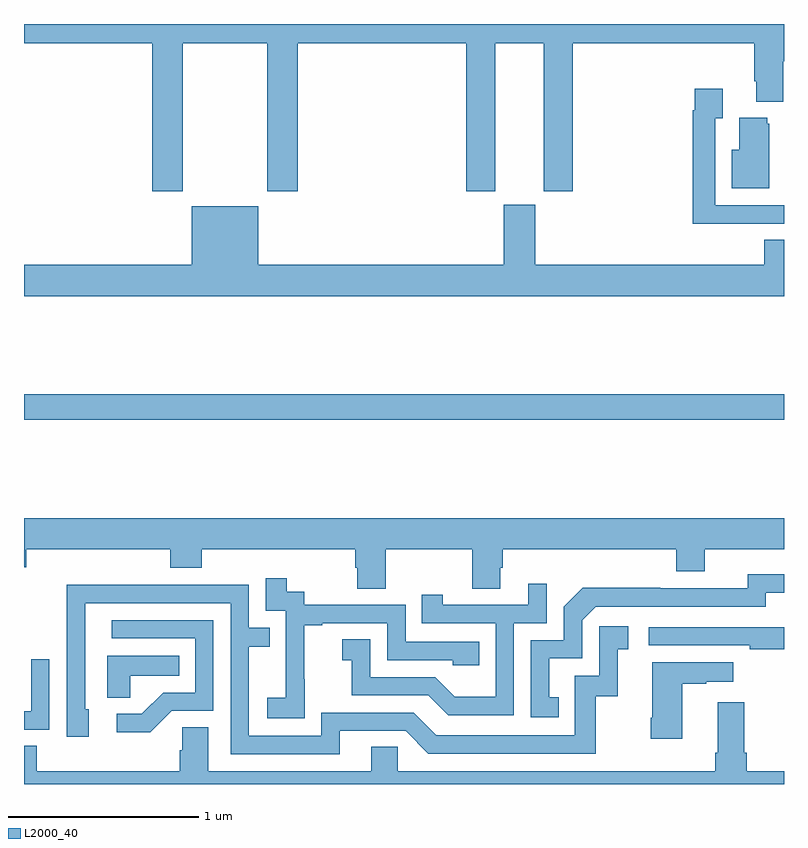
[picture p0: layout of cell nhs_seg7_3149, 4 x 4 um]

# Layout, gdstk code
import gdstk
lib = gdstk.Library(unit=1e-6, precision=1e-09)
def R(c, l, rs):  # rectangles x0, y0, x1, y1
    for r in rs: c.add(gdstk.rectangle(r[:2], r[2:], *l))
def P(c, l, *ps):  # polygons
    for p in ps: c.add(gdstk.Polygon(p, *l))
L2000_40 = (2000, 40)

nhs_seg7_3149 = lib.new_cell('nhs_seg7_3149')
R(nhs_seg7_3149, L2000_40, [(311,1047.916,315,1048.052)])
P(nhs_seg7_3149, L2000_40, [(311.835,1049.9),(312.28,1049.9),(312.28,1049.121),(312.44,1049.121),(312.44,1049.9),(313.328,1049.9),(313.328,1049.121),(313.48,1049.121),(313.48,1049.9),(313.736,1049.9),(313.736,1049.121),(313.889,1049.121),(313.889,1049.9),(314.843,1049.9),(314.843,1049.698),(314.855,1049.698),(314.855,1049.591),(314.995,1049.591),(314.995,1049.804),(315,1049.804),(315,1050),(311,1050),(311,1049.9),(311.675,1049.9),(311.675,1049.121),(311.835,1049.121)],
  [(314.813,1048.95),(315,1048.95),(315,1049.046),(314.637,1049.046),(314.637,1049.503),(314.677,1049.503),(314.677,1049.659),(314.529,1049.659),(314.529,1049.546),(314.521,1049.546),(314.521,1048.949),(314.813,1048.949)],
  [(314.923,1049.475),(314.912,1049.475),(314.912,1049.506),(314.765,1049.506),(314.765,1049.338),(314.726,1049.338),(314.726,1049.135),(314.923,1049.135)],
  [(315,1048.865),(314.897,1048.865),(314.897,1048.732),(313.69,1048.732),(313.69,1049.049),(313.526,1049.049),(313.526,1048.732),(312.232,1048.732),(312.232,1049.041),(311.882,1049.041),(311.882,1048.732),(311,1048.732),(311,1048.568),(315,1048.568)],
  [(312.903,1047.236),(313.36,1047.236),(313.36,1047.028),(313.507,1047.028),(313.507,1047.138),(313.52,1047.138),(313.52,1047.236),(314.432,1047.236),(314.432,1047.119),(314.584,1047.119),(314.584,1047.236),(315,1047.236),(315,1047.4),(311,1047.4),(311,1047.14),(311.012,1047.14),(311.012,1047.236),(311.771,1047.236),(311.771,1047.137),(311.936,1047.137),(311.936,1047.236),(312.743,1047.236),(312.743,1047.138),(312.755,1047.138),(312.755,1047.028),(312.903,1047.028)],
  [(313.814,1046.457),(313.765,1046.457),(313.765,1046.661),(313.938,1046.661),(313.938,1046.862),(314.01,1046.934),(314.904,1046.934),(314.904,1047.006),(315,1047.006),(315,1047.103),(314.808,1047.103),(314.808,1047.03),(314.348,1047.03),(314.348,1047.032),(313.94,1047.032),(313.842,1046.934),(313.842,1046.757),(313.668,1046.757),(313.668,1046.352),(313.814,1046.352)],
  [(312.477,1046.551),(312.476,1046.551),(312.476,1046.835),(312.571,1046.835),(312.571,1046.847),(312.912,1046.847),(312.912,1046.652),(313.257,1046.652),(313.257,1046.625),(313.397,1046.625),(313.397,1046.748),(313.008,1046.748),(313.008,1046.943),(312.474,1046.943),(312.474,1047.012),(312.382,1047.012),(312.382,1047.082),(312.273,1047.082),(312.273,1046.913),(312.378,1046.913),(312.378,1046.684),(312.377,1046.684),(312.377,1046.455),(312.279,1046.455),(312.279,1046.345),(312.477,1046.345)],
  [(313.578,1046.847),(313.752,1046.847),(313.752,1047.055),(313.655,1047.055),(313.655,1046.943),(313.204,1046.943),(313.204,1046.995),(313.093,1046.995),(313.093,1046.847),(313.482,1046.847),(313.482,1046.458),(313.268,1046.458),(313.164,1046.562),(312.822,1046.562),(312.822,1046.761),(312.675,1046.761),(312.675,1046.651),(312.724,1046.651),(312.724,1046.466),(313.127,1046.466),(313.232,1046.361),(313.578,1046.361)],
  [(312.661,1046.28),(313.008,1046.28),(313.128,1046.16),(314.008,1046.16),(314.008,1046.463),(314.126,1046.463),(314.126,1046.709),(314.179,1046.709),(314.179,1046.83),(314.028,1046.83),(314.028,1046.571),(313.899,1046.571),(313.899,1046.256),(313.17,1046.256),(313.05,1046.376),(312.564,1046.376),(312.564,1046.253),(312.183,1046.253),(312.183,1046.722),(312.293,1046.722),(312.293,1046.823),(312.183,1046.823),(312.183,1047.048),(311.687,1047.048),(311.687,1047.05),(311.224,1047.05),(311.224,1046.743),(311.226,1046.743),(311.226,1046.25),(311.341,1046.25),(311.341,1046.394),(311.322,1046.394),(311.322,1046.952),(312.087,1046.952),(312.087,1046.157),(312.661,1046.157)],
  [(311.778,1046.385),(311.997,1046.385),(311.997,1046.862),(311.463,1046.862),(311.463,1046.766),(311.901,1046.766),(311.901,1046.481),(311.732,1046.481),(311.621,1046.37),(311.487,1046.37),(311.487,1046.273),(311.665,1046.273)],
  [(315,1046.826),(314.289,1046.826),(314.289,1046.73),(314.821,1046.73),(314.821,1046.71),(315,1046.71)],
  [(311.559,1046.57),(311.816,1046.57),(311.816,1046.674),(311.438,1046.674),(311.438,1046.455),(311.559,1046.455)],
  [(311.133,1046.656),(311.037,1046.656),(311.037,1046.382),(311,1046.382),(311,1046.286),(311.133,1046.286)],
  [(314.464,1046.527),(314.591,1046.527),(314.591,1046.537),(314.734,1046.537),(314.734,1046.641),(314.306,1046.641),(314.306,1046.35),(314.299,1046.35),(314.299,1046.238),(314.464,1046.238)],
  [(315,1046.068),(314.804,1046.068),(314.804,1046.164),(314.791,1046.164),(314.791,1046.43),(314.651,1046.43),(314.651,1046.164),(314.639,1046.164),(314.639,1046.068),(312.966,1046.068),(312.966,1046.195),(312.827,1046.195),(312.827,1046.068),(311.971,1046.068),(311.971,1046.3),(311.832,1046.3),(311.832,1046.177),(311.819,1046.177),(311.819,1046.068),(311.066,1046.068),(311.066,1046.201),(311,1046.201),(311,1046),(315,1046)])

lib.write_gds('nhs_seg7_3149.gds')
